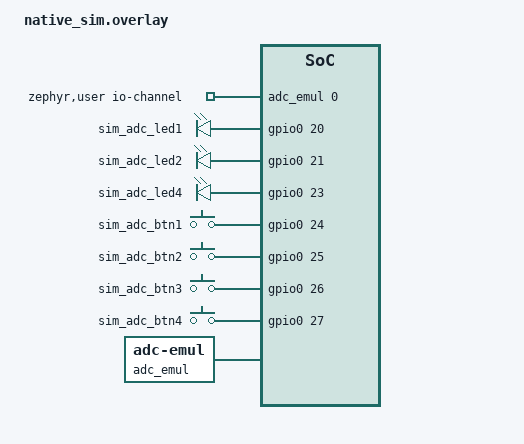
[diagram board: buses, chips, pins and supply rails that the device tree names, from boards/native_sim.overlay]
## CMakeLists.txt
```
cmake_minimum_required(VERSION 3.20.0)

# --------------------------------------------------
# native_sim-only overlay generation
# --------------------------------------------------
if(DEFINED BOARD AND BOARD STREQUAL "native_sim")

  message(STATUS "native_sim build detected - generating devicetree overlay")

  find_package(Python3 REQUIRED COMPONENTS Interpreter)
  
  set(INPUT_OVERLAY ${CMAKE_CURRENT_SOURCE_DIR}/boards/native_posix.overlay)
  set(LED_DATA ${CMAKE_BINARY_DIR}/led_aliases.cmake)
  
  set(EXTRA_DTC_OVERLAY_FILE
      ${CMAKE_CURRENT_SOURCE_DIR}/boards/native_sim.overlay
  )

endif()

# --------------------------------------------------
# Standard Zephyr application setup
# --------------------------------------------------

find_package(Zephyr REQUIRED HINTS $ENV{ZEPHYR_BASE})  # defines 'app' target
project(adc_tests)

target_sources(app PRIVATE src/main.c)
target_sources(app PRIVATE testing/bme554_lib.c)
target_sources(app PRIVATE testing/adc_test.c)

target_include_directories(app PRIVATE testing)

target_compile_definitions(app PRIVATE "main=student_main")
```

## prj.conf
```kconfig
CONFIG_LOG=y
# CONFIG_LOG_MODE_DEFERRED=y
CONFIG_LOG_BUFFER_SIZE=2048
# CONFIG_MAIN_STACK_SIZE=4096

CONFIG_SMF=y
CONFIG_EVENTS=y
CONFIG_ADC=y
# CONFIG_PWM=y

CONFIG_DEBUG_OPTIMIZATIONS=y
CONFIG_DEBUG_THREAD_INFO=y

CONFIG_FPU=y
CONFIG_ADC_ASYNC=y

CONFIG_ADC_EMUL=y
```

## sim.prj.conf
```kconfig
CONFIG_GPIO=y
CONFIG_GPIO_EMUL=y

CONFIG_INPUT=y
CONFIG_INPUT_GPIO_KEYS=y
CONFIG_LOG=y
CONFIG_LOG_MODE_IMMEDIATE=y
CONFIG_LOG_MODE_DEFERRED=n
CONFIG_LOG_BUFFER_SIZE=0
CONFIG_LOG_DEFAULT_LEVEL=4
CONFIG_EVENTS=y

CONFIG_ZTEST=y
CONFIG_GPIO_EMUL=y
CONFIG_ADC_EMUL=y
# CONFIG_LOG_BACKEND_UART=y
```

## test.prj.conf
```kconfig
# Test-specific configuration file
# This file enables ztest and is used when building for testing

CONFIG_LOG=y
CONFIG_LOG_MODE_IMMEDIATE=y
CONFIG_LOG_MODE_DEFERRED=n
CONFIG_LOG_DEFAULT_LEVEL=4

CONFIG_GPIO=y
CONFIG_EVENTS=y

# Enable Zephyr Test Framework (ztest) for unit testing
CONFIG_ZTEST=y
CONFIG_ZTEST_STACK_SIZE=2048
CONFIG_ADC_EMUL=y

# When ztest is enabled, it provides its own main() function
# The student's main.c will be excluded from the test build
```

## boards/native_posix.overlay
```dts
/ {
        zephyr,user {
            io-channels = <&adc 0>;
        };
        aliases {
        // add your aliases here; examples:
        heartbeat = &led0;  // this corresponds to LED1 on the board
        blinker = &led1;
        // buzzer = &led2;
        error = &led3;
        readbutton = &button0;  // this corresponds to SW1 on the board
        sleepbutton = &button1;
        // freqdownbutton = &button2;
        resetbutton = &button3;
        vadc = &vadc;
        };
};

&adc {
    #address-cells = <1>;
    #size-cells = <0>;

    vadc: channel@0 {
        reg = <0>;  // channel number
        zephyr,reference = "ADC_REF_INTERNAL";  // voltage ref for SA (0.6 V)
        zephyr,gain = "ADC_GAIN_1"; // gain factor to scale ref voltage (1/gain)
        zephyr,acquisition-time = <ADC_ACQ_TIME_DEFAULT>;
        zephyr,input-positive = <NRF_SAADC_AIN0>; // P0.02
        zephyr,resolution = <12>;  // bit depth
    };
    status = "okay"; // enable the ADC
};
```

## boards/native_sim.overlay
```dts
/ {
    zephyr,user {
        io-channels = <&adc_emul 0>;
    };

    aliases {
        heartbeat   = &sim_adc_led1;
        blinker     = &sim_adc_led2;
        error       = &sim_adc_led4;

        readbutton      = &sim_adc_btn1;
        samplingbutton  = &sim_adc_btn2;
        sleepbutton     = &sim_adc_btn3;
        resetbutton     = &sim_adc_btn4;

        vadc = &vadc_ch;
    };

    sim_adc_leds {
        compatible = "gpio-leds";

        sim_adc_led1: led_20 { gpios = <&gpio0 20 GPIO_ACTIVE_HIGH>; };
        sim_adc_led2: led_21 { gpios = <&gpio0 21 GPIO_ACTIVE_HIGH>; };
        sim_adc_led4: led_23 { gpios = <&gpio0 23 GPIO_ACTIVE_HIGH>; };
    };

    sim_adc_keys {
        compatible = "gpio-keys";

        sim_adc_btn1: key_24 {
            gpios = <&gpio0 24 GPIO_ACTIVE_HIGH>;
            zephyr,code = <0>;
        };

        sim_adc_btn2: key_25 {
            gpios = <&gpio0 25 GPIO_ACTIVE_HIGH>;
            zephyr,code = <1>;
        };

        sim_adc_btn3: key_26 {
            gpios = <&gpio0 26 GPIO_ACTIVE_HIGH>;
            zephyr,code = <2>;
        };

        sim_adc_btn4: key_27 {
            gpios = <&gpio0 27 GPIO_ACTIVE_HIGH>;
            zephyr,code = <3>;
        };
    };

    adc_emul: adc_emul {
        compatible = "zephyr,adc-emul";
        nchannels = <1>;
        ref-internal-mv = <600>;

        #io-channel-cells = <1>;
        #address-cells = <1>;
        #size-cells = <0>;

        status = "okay";

        vadc_ch: channel@0 {
            reg = <0>;
            zephyr,gain = "ADC_GAIN_1_5";
            zephyr,reference = "ADC_REF_INTERNAL";
            zephyr,acquisition-time = <ADC_ACQ_TIME_DEFAULT>;
            // zephyr,input-positive = <NRF_SAADC_AIN0>; // P0.02
            zephyr,resolution = <12>;
        };
    };
};

&gpio0 {
    status = "okay";
};
```

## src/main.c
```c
#include <zephyr/kernel.h>
#include <zephyr/device.h>
#include <zephyr/devicetree.h>
#include <zephyr/drivers/gpio.h> 
#include <zephyr/logging/log.h>  // needs CONFIG_LOG=y in your prj.conf
#include <zephyr/drivers/adc.h> // CONFIG_ADC=y
// #include <zephyr/drivers/pwm.h> // CONFIG_PWM=y
#include <zephyr/smf.h> // CONFIG_SMF=y
// #include "adc_test.h"
#include "bme554_lib.h"

LOG_MODULE_REGISTER(main, LOG_LEVEL_DBG);

/* DEFINE MACROS */
#define MS_PER_HZ                       1000
#define HB_ON_TIME                      250
#define MAX_FREQ_HZ                     5
#define MIN_FREQ_HZ                     1
#define MIN_V_MV                        0
#define MAX_V_MV                        2990
#define READ_EVENT                      BIT(0)
#define SLEEP_EVENT                     BIT(1)
#define TIMER_COMPLETE_EVENT            BIT(2)
#define RESET_EVENT                     BIT(3)
#define BLINKING_TIME_MS                5000
#define ADC_DT_SPEC_GET_BY_ALIAS(adc_alias)                 \
{                                                           \
    .dev = DEVICE_DT_GET(DT_PARENT(DT_ALIAS(adc_alias))),   \
    .channel_id = DT_REG_ADDR(DT_ALIAS(adc_alias)),         \
    ADC_CHANNEL_CFG_FROM_DT_NODE(DT_ALIAS(adc_alias))       \
}

/* DEFINE GLOBALS AND DT-BASED HARDWARE STRUCTS */
// buttons
const struct gpio_dt_spec read_button = GPIO_DT_SPEC_GET(DT_ALIAS(readbutton), gpios);
const struct gpio_dt_spec sleep_button = GPIO_DT_SPEC_GET(DT_ALIAS(sleepbutton), gpios);
const struct gpio_dt_spec reset_button = GPIO_DT_SPEC_GET(DT_ALIAS(resetbutton), gpios);

// LEDs
const struct gpio_dt_spec heartbeat_led = GPIO_DT_SPEC_GET(DT_ALIAS(heartbeat), gpios);
const struct gpio_dt_spec blinker_led = GPIO_DT_SPEC_GET(DT_ALIAS(blinker), gpios);
const struct gpio_dt_spec error_led = GPIO_DT_SPEC_GET(DT_ALIAS(error), gpios);

/* DEFINE CALLBACK FUNCTIONS */
void read_button_callback(const struct device *dev, struct gpio_callback *cb, uint32_t pins);
void sleep_button_callback(const struct device *dev, struct gpio_callback *cb, uint32_t pins);
void reset_button_callback(const struct device *dev, struct gpio_callback *cb, uint32_t pins);

/* DEFINE TIMER FUNCTIONS */
void blinking_interrupt_handler(struct k_timer *blinking_timer);
void led_on_interrupt_handler(struct k_timer *led_on_timer);
void led_off_interrupt_handler(struct k_timer *led_off_timer);
void led_on_stop_handler(struct k_timer *led_on_timer);

/* DEFINE THREAD FUNCTIONS */
void heartbeat_thread(void *, void *, void *);

/* DEFINE KERNEL EVENTS */
K_EVENT_DEFINE(button_events);

/* INITIALIZE GPIO CALLBACK STRUCTS */
static struct gpio_callback read_button_cb;
static struct gpio_callback sleep_button_cb;
static struct gpio_callback reset_button_cb;

/* INITIALIZE ADC STRUCT */
static const struct adc_dt_spec adc_vadc = ADC_DT_SPEC_GET_BY_ALIAS(vadc);

/* DEFINE TIMERS */
K_TIMER_DEFINE(blinking_timer, blinking_interrupt_handler, NULL);
K_TIMER_DEFINE(led_on_timer, led_on_interrupt_handler, led_on_stop_handler);
K_TIMER_DEFINE(led_off_timer, led_off_interrupt_handler, NULL);

/* DEFINE THREADS */
K_THREAD_DEFINE(heartbeat_thread_id, 1024, heartbeat_thread, NULL, NULL, NULL, 5, 0, 0);

/* DECLARE STRUCT STATE TABLE AND STRUCT */
struct s_object {
    struct smf_ctx ctx;
    
    /* USER-DEFINED VARS FOR STATE MACHINE*/
    int32_t millivolts;
    float freq;
    float ontime;
    float offtime;
    
    int64_t starttime;
    int64_t endtime;
};

struct s_object s_context = {
    .millivolts = 0,
    .freq = 0,
    .ontime = 0,
    .offtime = 0,
    .starttime = 0,
    .endtime = 0,
};

int16_t buf;
struct adc_sequence sequence = {
    .buffer = &buf,
    .buffer_size = sizeof(buf), // bytes
};

/* DECLARE STATE FUNCTIONS */
static void init(void *o);
static void reset(void *o);
static void idle_entry(void *o);
static void idle_run(void *o);
static void idle_exit(void *o);
static void sleep_run(void *o);
static void reading_entry(void *o);
static void reading_run(void *o);
static void reading_exit(void *o);
static void blinking_entry(void *o);
static void blinking_run(void *o);
static void blinking_exit(void *o);
static void error_entry(void *o);
static void error_run(void *o);
static void error_exit(void *o);

/* DEFINE STATES FOR STATE MACHINE */
enum state { INIT, RESET, IDLE, SLEEP, READING, BLINKING, ERROR };

/* POPULATE STATE TABLE */
static const struct smf_state states[] = {
    [INIT] = SMF_CREATE_STATE(NULL, init, NULL, NULL, NULL),
    [RESET] = SMF_CREATE_STATE(NULL, reset, NULL, NULL, NULL),
    [IDLE] = SMF_CREATE_STATE(idle_entry, idle_run, idle_exit, NULL, NULL),
    [SLEEP] = SMF_CREATE_STATE(NULL, sleep_run, NULL, NULL, NULL),
    [READING] = SMF_CREATE_STATE(reading_entry, reading_run, reading_exit, NULL, NULL),
    [BLINKING] = SMF_CREATE_STATE(blinking_entry, blinking_run, blinking_exit, NULL, NULL),
    [ERROR] = SMF_CREATE_STATE(error_entry, error_run, error_exit, NULL, NULL),
};

/* DECLARE GLOBAL VARIABLES */
int timer_error = 0;

int main(void)
{
    smf_set_initial(SMF_CTX(&s_context), &states[INIT]);
    
    while (1) {
        if (timer_error < 0) {
            return timer_error;
        }
        
        int err = smf_run_state(SMF_CTX(&s_context));
        if (err) {
            /* handle return code and terminate state machine */
            smf_set_terminate(SMF_CTX(&s_context), err);
            break;
        }
    }
    
    return 0;
}

void read_button_callback(const struct device *dev, struct gpio_callback *cb, uint32_t pins) {
    printk(">>> [callback] &program_test_events = %p\n", &program_test_events);
    ADC_READ_TRIGGERED();
    k_event_post(&button_events, READ_EVENT);
}

void sleep_button_callback(const struct device *dev, struct gpio_callback *cb, uint32_t pins) {
    SLEEP_PRESSED();
    k_event_post(&button_events, SLEEP_EVENT);
}

void reset_button_callback(const struct device *dev, struct gpio_callback *cb, uint32_t pins) {
    RESET_PRESSED(); 
    k_event_post(&button_events, RESET_EVENT);
}

void heartbeat_thread(void *, void *, void *) {
    while (1) {
        k_msleep(HB_ON_TIME);  // scheduler can run other tasks now
        int err = gpio_pin_toggle_dt(&heartbeat_led);
        if (err < 0) {
            LOG_ERR("Failed to toggle heartbeat LED.");
            timer_error = err;
            return;
        }
        LOG_INF("Heartbeat LED toggled");
        k_msleep(MS_PER_HZ - HB_ON_TIME); // scheduler can run other tasks now
        err = gpio_pin_toggle_dt(&heartbeat_led);
        if (err < 0) {
            LOG_ERR("Failed to toggle heartbeat LED.");
            timer_error = err;
            return;
        }
        LOG_INF("Heartbeat LED toggled");
    }
}

void blinking_interrupt_handler(struct k_timer *blinking_timer) {
    /* STOP TIMERS */
    // k_timer_stop(&led_on_timer);
    // k_timer_stop(&led_off_timer);
    
    s_context.endtime = k_uptime_get();

    ADC_BLINK_COMPLETE(); 
    
    k_event_post(&button_events, TIMER_COMPLETE_EVENT);
}

void led_on_interrupt_handler(struct k_timer *led_on_timer) {
    int err;
    
    /* TURN OFF LED */
    err =  gpio_pin_set_dt(&blinker_led, 0);
    if (err < 0) {
        LOG_ERR("Failed to set blinker LED.");
        smf_set_terminate(SMF_CTX(&s_context), err);
    }
    
    /* START TIMER */
    k_timer_start(&led_off_timer,
                  K_MSEC(s_context.offtime),
                  K_NO_WAIT);
}

void led_off_interrupt_handler(struct k_timer *led_off_timer) {
    int err;
    
    err =  gpio_pin_set_dt(&blinker_led, 1);
    if (err < 0) {
        LOG_ERR("Failed to set blinker LED.");
        smf_set_terminate(SMF_CTX(&s_context), err);
    }
    
    /* START TIMERS */
    k_timer_start(&led_on_timer,
                  K_MSEC(s_context.ontime),
                  K_NO_WAIT);
}

void led_on_stop_handler(struct k_timer *led_on_timer) {
    int err;
    
    /* TURN OFF LED */
    err =  gpio_pin_set_dt(&blinker_led, 0);
    if (err < 0) {
        LOG_ERR("Failed to set blinker LED.");
        smf_set_terminate(SMF_CTX(&s_context), err);
    }

    // ADC_BLINK_COMPLETE();
}

static void init(void *o) {
    printk(">>> [student] &program_test_events = %p\n", &program_test_events);
    int err = 0;
    
    /* CHECK INTERFACE READY */
    if (!device_is_ready(read_button.port)) {
        LOG_ERR("gpio0 interface not ready.");
        smf_set_terminate(SMF_CTX(&s_context), -1);
    }
    if (!device_is_ready(adc_vadc.dev)) {
        LOG_ERR("ADC controller device(s) not ready");
        smf_set_terminate(SMF_CTX(&s_context), -1);
    }
    
    /* CONFIGURE BUTTON GPIO PINS */
    err = gpio_pin_configure_dt(&read_button, GPIO_INPUT);
    if (err < 0) {
        LOG_ERR("Cannot configure sleep button.");
        smf_set_terminate(SMF_CTX(&s_context), err);
    }
    err = gpio_pin_configure_dt(&sleep_button, GPIO_INPUT);
    if (err < 0) {
        LOG_ERR("Cannot configure sleep button.");
        smf_set_terminate(SMF_CTX(&s_context), err);
    }
    err = gpio_pin_configure_dt(&reset_button, GPIO_INPUT);
    if (err < 0) {
        LOG_ERR("Cannot configure reset button.");
        smf_set_terminate(SMF_CTX(&s_context), err);
    }
    
    /* CONFIGURE BUTTON CALLBACKS */
    // read
    err = gpio_pin_interrupt_configure_dt(&read_button, GPIO_INT_EDGE_TO_ACTIVE); 
    if (err < 0) {
        LOG_ERR("Cannot attach callback to sw0.");
        smf_set_terminate(SMF_CTX(&s_context), err);
    }
    gpio_init_callback(&read_button_cb, read_button_callback, BIT(read_button.pin));
    err = gpio_add_callback_dt(&read_button, &read_button_cb);
    if (err < 0) {
        LOG_ERR("Cannot add callback to sw0.");
        smf_set_terminate(SMF_CTX(&s_context), err);
    }
    // sleep
    err = gpio_pin_interrupt_configure_dt(&sleep_button, GPIO_INT_EDGE_TO_ACTIVE); 
    if (err < 0) {
        LOG_ERR("Cannot attach callback to sw1.");
        smf_set_terminate(SMF_CTX(&s_context), err);
    }
    gpio_init_callback(&sleep_button_cb, sleep_button_callback, BIT(sleep_button.pin));
    err = gpio_add_callback_dt(&sleep_button, &sleep_button_cb);
    if (err < 0) {
        LOG_ERR("Cannot add callback to sw1.");
        smf_set_terminate(SMF_CTX(&s_context), err);
    }
    // reset
    err = gpio_pin_interrupt_configure_dt(&reset_button, GPIO_INT_EDGE_TO_ACTIVE); 
    if (err < 0) {
        LOG_ERR("Cannot attach callback to sw3.");
        smf_set_terminate(SMF_CTX(&s_context), err);
    }
    gpio_init_callback(&reset_button_cb, reset_button_callback, BIT(reset_button.pin));
    err = gpio_add_callback_dt(&reset_button, &reset_button_cb);
    if (err < 0) {
        LOG_ERR("Cannot add callback to sw3.");
        smf_set_terminate(SMF_CTX(&s_context), err);
    }
    
    /* CONFIGURE LEDs */
    err = gpio_pin_configure_dt(&heartbeat_led, GPIO_OUTPUT_ACTIVE);
    if (err < 0) {
        LOG_ERR("Cannot configure heartbeat LED.");
        smf_set_terminate(SMF_CTX(&s_context), err);
    }
    err = gpio_pin_configure_dt(&blinker_led, GPIO_OUTPUT_INACTIVE);
    if (err < 0) {
        LOG_ERR("Cannot configure iv_pump LED.");
        smf_set_terminate(SMF_CTX(&s_context), err);
    }
    err = gpio_pin_configure_dt(&error_led, GPIO_OUTPUT_INACTIVE);
    if (err < 0) {
        LOG_ERR("Cannot configure error LED.");
        smf_set_terminate(SMF_CTX(&s_context), err);
    }
    
    /* CONFIGURE ADC CHANNEL */
    err = adc_channel_setup_dt(&adc_vadc);
    if (err < 0) {
        LOG_ERR("Could not setup ADC channel (%d)", err);
        smf_set_terminate(SMF_CTX(&s_context), err);
    }
    
    // k_event_init(&button_events);
    
    smf_set_state(SMF_CTX(&s_context), &states[IDLE]);
}

static void reset(void *o) {
    RESET_STATUS();
    smf_set_state(SMF_CTX(&s_context), &states[IDLE]);
}

static void idle_entry(void *o) {
    int err = 0;
    
    /* RECONFIGURE BUTTONS TO ENABLE CALLBACKS */
    err = gpio_pin_interrupt_configure_dt(&read_button, GPIO_INT_EDGE_TO_ACTIVE); 
    if (err < 0) {
        LOG_ERR("Cannot attach callback to sw1.");
        smf_set_terminate(SMF_CTX(&s_context), err);
    }
}

static void idle_run(void *o) {
    uint32_t events = k_event_wait(&button_events, READ_EVENT | SLEEP_EVENT | RESET_EVENT, true, K_FOREVER);
    if (events & READ_EVENT) {
        LOG_INF("Read button pressed");
        // ADC_READ_TRIGGERED();
        smf_set_state(SMF_CTX(&s_context), &states[READING]);
    }
    if (events & SLEEP_EVENT) {
        LOG_INF("Sleep button pressed");
        smf_set_state(SMF_CTX(&s_context), &states[SLEEP]);
    }
    if (events & RESET_EVENT) {
        LOG_INF("Reset button pressed");
        smf_set_state(SMF_CTX(&s_context), &states[RESET]);
    }
}

static void idle_exit(void *o) {
    int err = 0;
    
    /* RECONFIGURE BUTTONS TO DISABLE CALLBACKS */
    err = gpio_pin_interrupt_configure_dt(&read_button, GPIO_INT_DISABLE); 
    if (err < 0) {
        LOG_ERR("Cannot attach callback to sw0.");
        smf_set_terminate(SMF_CTX(&s_context), err);
    }
}

static void sleep_run(void *o) {
    SLEEP_STATE(); 

    uint32_t events = k_event_wait(&button_events, SLEEP_EVENT | RESET_EVENT, true, K_FOREVER);
    if (events & SLEEP_EVENT) {
        LOG_INF("Sleep button pressed");
        smf_set_state(SMF_CTX(&s_context), &states[IDLE]);
    }
    if (events & RESET_EVENT) {
        LOG_INF("Reset button pressed");
        smf_set_state(SMF_CTX(&s_context), &states[RESET]);
    }
}

static void reading_entry(void *o) {
    // ADC_READ_TRIGGERED();
    int err = 0;
    
    /* RECONFIGURE BUTTONS TO DISABLE CALLBACKS */
    err = gpio_pin_interrupt_configure_dt(&sleep_button, GPIO_INT_DISABLE); 
    if (err < 0) {
        LOG_ERR("Cannot attach callback to sw1.");
        smf_set_terminate(SMF_CTX(&s_context), err);
    }
    err = gpio_pin_interrupt_configure_dt(&reset_button, GPIO_INT_DISABLE); 
    if (err < 0) {
        LOG_ERR("Cannot attach callback to sw3.");
        smf_set_terminate(SMF_CTX(&s_context), err);
    }

    // not sure if correct??????
    // gpio_pin_interrupt_configure_dt(&read_button, GPIO_INT_DISABLE);
    
    (void)adc_sequence_init_dt(&adc_vadc, &sequence);
}

static void reading_run(void *o) {
    int ret;
    ret = adc_read(adc_vadc.dev, &sequence);
    if (ret < 0) {
        LOG_ERR("Could not read (%d)", ret);
        smf_set_state(SMF_CTX(&s_context), &states[ERROR]);
        return;
    } else {
        LOG_DBG("Raw ADC Buffer: %d", buf);
    }
    
    int32_t val_mv;
    val_mv = buf;
    ret = adc_raw_to_millivolts_dt(&adc_vadc, &val_mv);
    if (ret < 0) {
        LOG_ERR("Buffer cannot be converted to mV; returning raw buffer value.");
    } else {
        LOG_INF("ADC Value (mV): %d", val_mv);
    }
    
    s_context.millivolts = val_mv;

    float max_v = MAX_V_MV;
    // s_context.freq = ((s_context.millivolts * (MAX_FREQ_HZ - MIN_FREQ_HZ)) / max_v) + MIN_FREQ_HZ;
    s_context.freq = ((float)s_context.millivolts * (MAX_FREQ_HZ - MIN_FREQ_HZ)) / max_v + MIN_FREQ_HZ;
    LOG_INF("Mapped frequency (Hz): %f", (double)s_context.freq);
    
    // s_context.ontime = (MS_PER_HZ / s_context.freq) / 10;
    // s_context.offtime = (MS_PER_HZ / s_context.freq) - s_context.ontime;

    float period = MS_PER_HZ / s_context.freq;
    s_context.ontime = (int)(period * 0.1f);
    s_context.offtime = (int)(period - s_context.ontime);

    
    if (val_mv < MIN_V_MV || val_mv > MAX_V_MV) {
        printk(">>> About to post ADC_READ_COMPLETE (mv=%d freq=%f)\n", s_context.millivolts, (double)s_context.freq);
        ADC_READ_COMPLETE(s_context.millivolts, s_context.freq);
        // printk(">>> program_test_events bits after READ_COMPLETE:");
        printk(">>> program_test_events bits after READ_COMPLETE: 0x%08x\n", program_test_events.events);
        k_yield();
        printk(">>> After k_yield, continuing to ERROR\n");

        smf_set_state(SMF_CTX(&s_context), &states[ERROR]);
        return;
    } else {
        printk(">>> About to post ADC_READ_COMPLETE (mv=%d freq=%f)\n", s_context.millivolts, (double)s_context.freq);
        ADC_READ_COMPLETE(s_context.millivolts, s_context.freq);
        printk(">>> program_test_events bits after READ_COMPLETE:");
        k_yield();
        printk(">>> After k_yield, continuing to BLINKING\n");

        smf_set_state(SMF_CTX(&s_context), &states[BLINKING]);
        // ADC_READ_COMPLETE(val_mv, s_context.freq);
    }
}

static void reading_exit(void *o) {
    int err = 0;
    
    /* RECONFIGURE BUTTONS TO ENABLE CALLBACKS */
    err = gpio_pin_interrupt_configure_dt(&sleep_button, GPIO_INT_EDGE_TO_ACTIVE); 
    if (err < 0) {
        LOG_ERR("Cannot attach callback to sw1.");
        smf_set_terminate(SMF_CTX(&s_context), err);
    }
    err = gpio_pin_interrupt_configure_dt(&reset_button, GPIO_INT_EDGE_TO_ACTIVE); 
    if (err < 0) {
        LOG_ERR("Cannot attach callback to sw3.");
        smf_set_terminate(SMF_CTX(&s_context), err);
    }
    // ADC_READ_COMPLETE(s_context.millivolts, s_context.freq);
}

static void blinking_entry(void *o) {
    int err;
    
    /* TURN ON LED */
    err =  gpio_pin_set_dt(&blinker_led, 1);
    if (err < 0) {
        LOG_ERR("Failed to set blinker LED.");
        smf_set_terminate(SMF_CTX(&s_context), err);
    }

    gpio_pin_interrupt_configure_dt(&read_button, GPIO_INT_DISABLE);
    
    /* START TIMERS */
    k_timer_start(&led_on_timer,
                  K_MSEC(s_context.ontime),
                  K_NO_WAIT);
    k_timer_start(&blinking_timer,
                  K_MSEC(BLINKING_TIME_MS),
                  K_NO_WAIT);
    
    s_context.starttime = k_uptime_get();
}

static void blinking_run(void *o) {
    uint32_t events = k_event_wait(&button_events, TIMER_COMPLETE_EVENT | SLEEP_EVENT | RESET_EVENT, true, K_FOREVER);
    if (events & TIMER_COMPLETE_EVENT) {
        LOG_INF("Timer is complete!");
        smf_set_state(SMF_CTX(&s_context), &states[IDLE]);
    }
    if (events & SLEEP_EVENT) {
        LOG_INF("Sleep button pressed");
        smf_set_state(SMF_CTX(&s_context), &states[SLEEP]);
    }
    if (events & RESET_EVENT) {
        LOG_INF("Reset button pressed");
        smf_set_state(SMF_CTX(&s_context), &states[RESET]);
    }

    // ADC_BLINK_COMPLETE();
}

static void blinking_exit(void *o) {
    k_timer_stop(&blinking_timer);
    k_timer_stop(&led_on_timer);
    k_timer_stop(&led_off_timer);

    gpio_pin_interrupt_configure_dt(&read_button, GPIO_INT_EDGE_TO_ACTIVE);

    // ADC_BLINK_COMPLETE();
    LOG_INF("Blinking timer off, ran for %lld ms", s_context.endtime - s_context.starttime);
}

static void error_entry(void *o) {
    ERROR_STATE();

    int err = 0;
    
    /* RECONFIGURE BUTTON TO DISABLE CALLBACK */
    err = gpio_pin_interrupt_configure_dt(&sleep_button, GPIO_INT_DISABLE); 
    if (err < 0) {
        LOG_ERR("Cannot attach callback to sw1.");
        smf_set_terminate(SMF_CTX(&s_context), err);
    }
    
    /* TURN ON LED */
    err =  gpio_pin_set_dt(&error_led, 1);
    if (err < 0) {
        LOG_ERR("Failed to set error LED.");
        smf_set_terminate(SMF_CTX(&s_context), err);
    }
}

static void error_run(void *o) {
    uint32_t events = k_event_wait(&button_events, RESET_EVENT, true, K_FOREVER);
    if (events & RESET_EVENT) {
        LOG_INF("Reset button pressed");
        smf_set_state(SMF_CTX(&s_context), &states[RESET]);
    }
}

static void error_exit(void *o) {
    int err = 0;
    
    /* RECONFIGURE BUTTON TO ENABLE CALLBACK */
    err = gpio_pin_interrupt_configure_dt(&sleep_button, GPIO_INT_EDGE_TO_ACTIVE); 
    if (err < 0) {
        LOG_ERR("Cannot attach callback to sw1.");
        smf_set_terminate(SMF_CTX(&s_context), err);
    }
    
    /* TURN OFF LED */
    err =  gpio_pin_set_dt(&error_led, 0);
    if (err < 0) {
        LOG_ERR("Failed to set error LED.");
        smf_set_terminate(SMF_CTX(&s_context), err);
    }
}
```
